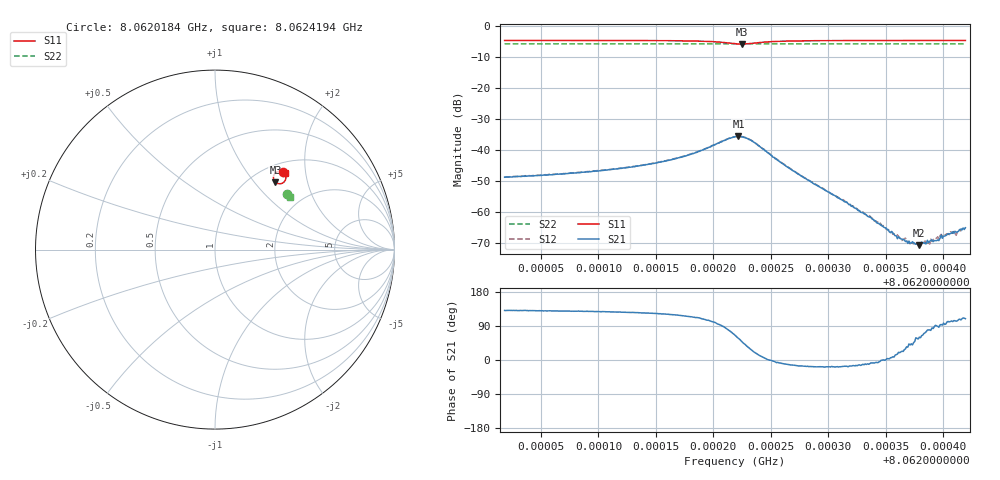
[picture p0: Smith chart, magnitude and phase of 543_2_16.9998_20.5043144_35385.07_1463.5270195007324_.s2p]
#  HZ  S  RI  R  50.00
! Rohde & Schwarz Vector Network Analyzer
! Rohde-Schwarz,ZNB20-2Port,1311601062101988,3.16
! Created: UTC 3/20/2024, 11:16:23 PM
! freq[Hz]  re:S11  im:S11  re:S21  im:S21  re:S12  im:S12  re:S22  im:S22
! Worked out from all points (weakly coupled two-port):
!   401 points, 8.0620184 GHz to 8.0624194 GHz, reference 50 ohm
!   highest |S21| = -35.75 dB at 8.0622219 GHz (marker M1); lowest = -70.9 dB at 8.0623793 GHz (marker M2)
!   lowest |S11| = -5.9 dB at 8.0622249 GHz (marker M3), VSWR 3.04, Z = 64.1 + j64.7 ohm
!   |S11| at or under -10 dB: nowhere
!   |S22| runs from -5.9 to -5.9 dB; largest |S21 - S12| = 0.0011
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8.06201838e9  0.3782 0.4345  -0.00234 0.00271  -0.00219 0.00287  0.4034 0.3104
8.06208555e9  0.384 0.4288  -0.00268 0.00337  -0.00248 0.00355  0.406 0.3067
8.06212365e9  0.388 0.4236  -0.003 0.00414  -0.00275 0.0043  0.4074 0.3048
8.06215273e9  0.3916 0.4174  -0.00332 0.0053  -0.00305 0.0055  0.4084 0.3031
8.0621838e9  0.3951 0.403  -0.00337 0.00814  -0.00287 0.00844  0.4093 0.301
8.0622189e9  0.3555 0.3669  0.0067 0.0147  0.00759 0.0142  0.4083 0.2982
8.0622219e9  0.3456 0.3699  0.00884 0.0137  0.00965 0.0132  0.408 0.2983
8.06222491e9  0.3367 0.376  0.0106 0.012  0.0114 0.0116  0.4077 0.2987
8.06223494e9  0.3258 0.406  0.0123 0.00503  0.0126 0.00436  0.4081 0.2995
8.06226301e9  0.355 0.4359  0.00535 -0.00104  0.00538 -0.00136  0.4108 0.2992
8.06228607e9  0.3679 0.4355  0.0028 -0.00088  0.00283 -0.00105  0.4121 0.2979
8.0623372e9  0.3802 0.4308  0.000794 -0.000107  0.000787 -0.00019  0.4143 0.2951
8.06235324e9  0.3825 0.4295  0.00047 2.31e-05  0.000491 3.33e-06  0.4149 0.2942
8.06236327e9  0.3836 0.4287  0.000338 0.000132  0.00033 8.81e-05  0.4153 0.2936
8.06236728e9  0.3842 0.4283  0.000286 0.000162  0.000339 0.000153  0.4153 0.2934
8.06237229e9  0.3848 0.428  0.000227 0.000211  0.000238 0.000223  0.4155 0.293
8.06237931e9  0.3855 0.4274  0.000141 0.000247  0.000192 0.000224  0.4157 0.2927
8.06238733e9  0.3863 0.4269  5.79e-05 0.000312  8.54e-05 0.000301  0.416 0.2923
8.06239435e9  0.387 0.4263  -1.07e-06 0.000339  1.97e-05 0.000369  0.4162 0.2918
8.06240638e9  0.388 0.4255  -8.92e-05 0.000434  -6.3e-05 0.000469  0.4167 0.2913
8.06241239e9  0.3886 0.4251  -0.000107 0.000458  -9.81e-05 0.000456  0.417 0.291
8.06241941e9  0.3893 0.4246  -0.00018 0.000518  -0.000186 0.000508  0.4172 0.2906
